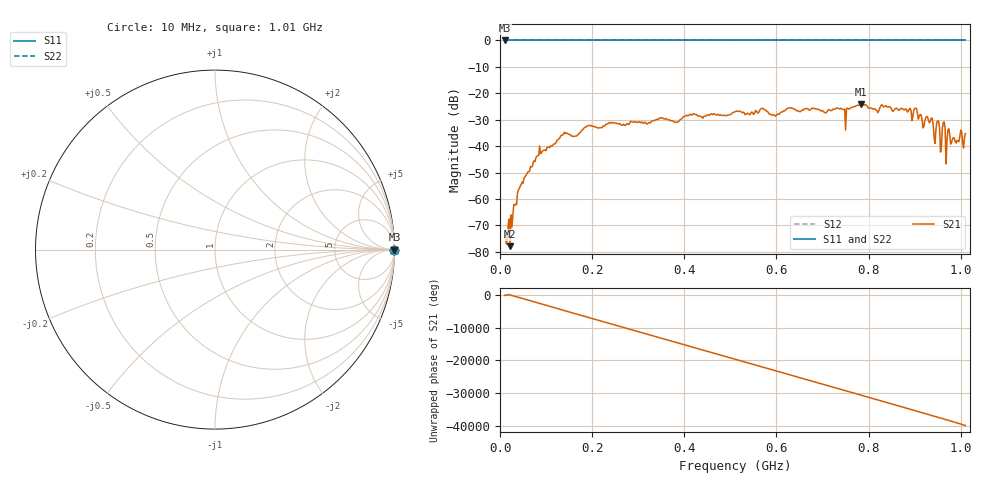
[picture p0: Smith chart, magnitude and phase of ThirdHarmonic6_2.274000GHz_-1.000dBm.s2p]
! 8/17/2025 2:54:07 AM
! C:\ANRITSUVNA\TEMP\TEMP.S2P
! CHANNEL.1
! TR.MEASUREMENT
! RAW.DATA
! RF.CORRECTION.OFF
! AVERAGING.OFF
! IF.BANDWIDTH: 5KHZ
! SWEEPTYPE:  FREQ.SWEEP(Linear)
! Reference Plane Port Info
! PORT:  PORT1  PORT2
! DISTANCE:  0  m  0  m
! TIME:  0  s  0  s
! PHASE.OFFSET:  0  deg.  0  deg.
! LOSS:  0  dB  0  dB
! REF.LOSS:  0  dB  0  dB
! REF.FREQ:  0  Hz  0  Hz
! Power Info
! POWER:  -20  dBm  -20  dBm
! EFF.POWER:  -20  dBm  -20  dBm
! SOURCE.ATTEN:  0  dB  0  dB
! TEST.ATTEN:  0  dB  0  dB
# GHZ S RI R 50.0
! FREQ.GHZ  S11RE  S11IM  S21RE  S21IM  S12RE  S12IM  S22RE  S22IM
!; PortSelection: Port_12
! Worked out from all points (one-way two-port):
!   501 points, 10 MHz to 1.01 GHz, reference 50 ohm
!   highest |S21| = -23.98 dB at 784 MHz (marker M1); lowest = -77.8 dB at 22 MHz (marker M2)
!   lowest |S11| = 0.0 dB at 10 MHz (marker M3)
!   |S11| at or under -10 dB: nowhere
!   |S22| runs from 0.0 to 0.0 dB; largest |S21 - S12| = 1.1
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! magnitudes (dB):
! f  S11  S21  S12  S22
! 10 MHz  0.0  -74.6  0.0  0.0
! 22 MHz  0.0  -77.8  0.0  0.0
! 42 MHz  0.0  -56.0  0.0  0.0
! 82 MHz  0.0  -43.6  0.0  0.0
! 136 MHz  0.0  -35.8  0.0  0.0
! 178 MHz  0.0  -33.8  0.0  0.0
! 344 MHz  0.0  -29.8  0.0  0.0
! 510 MHz  0.0  -27.0  0.0  0.0
! 596 MHz  0.0  -28.3  0.0  0.0
! 678 MHz  0.0  -25.6  0.0  0.0
! 746 MHz  0.0  -26.2  0.0  0.0
! 784 MHz  0.0  -24.0  0.0  0.0
! 844 MHz  0.0  -25.0  0.0  0.0
! 902 MHz  0.0  -25.6  0.0  0.0
! 918 MHz  0.0  -33.1  0.0  0.0
! 936 MHz  0.0  -29.3  0.0  0.0
! 944 MHz  0.0  -39.0  0.0  0.0
! 950 MHz  0.0  -30.3  0.0  0.0
! 956 MHz  0.0  -42.2  0.0  0.0
! 962 MHz  0.0  -31.0  0.0  0.0
! 972 MHz  0.0  -33.9  0.0  0.0
! 1.01 GHz  0.0  -35.2  0.0  0.0
